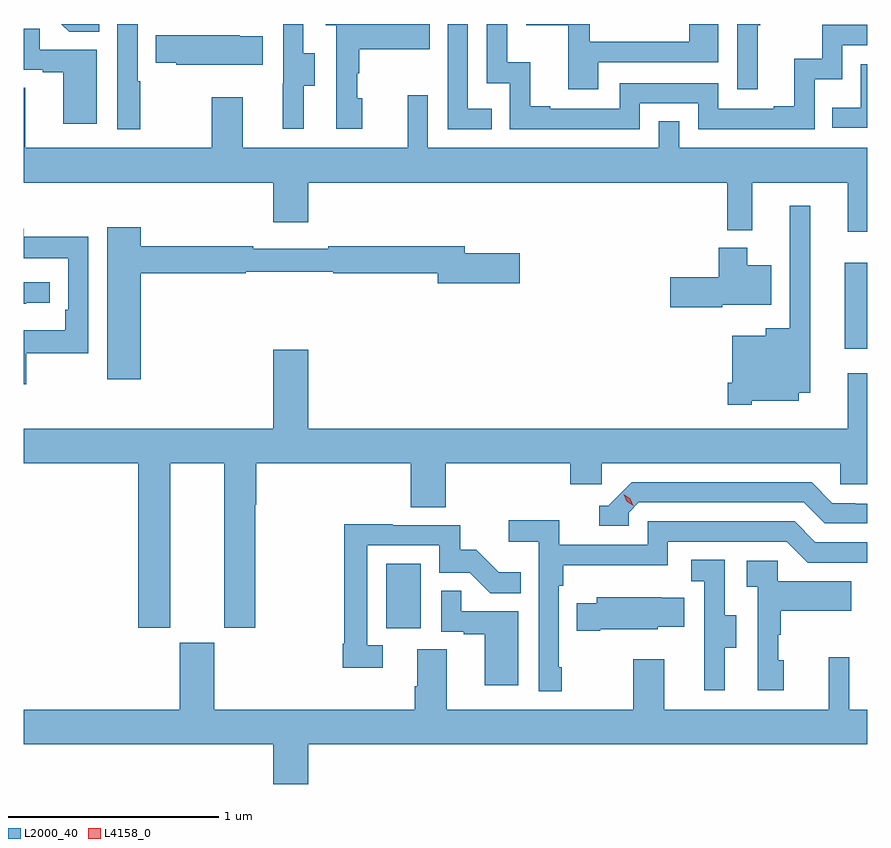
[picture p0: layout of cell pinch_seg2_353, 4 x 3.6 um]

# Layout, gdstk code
import gdstk
lib = gdstk.Library(unit=1e-6, precision=1e-09)
def R(c, l, rs):  # rectangles x0, y0, x1, y1
    for r in rs: c.add(gdstk.rectangle(r[:2], r[2:], *l))
def P(c, l, *ps):  # polygons
    for p in ps: c.add(gdstk.Polygon(p, *l))
L2000_40 = (2000, 40)
L4158_0 = (4158, 0)

pinch_seg2_353 = lib.new_cell('pinch_seg2_353')
R(pinch_seg2_353, L2000_40, [(980.726,633.534,980.89,633.841), (982.901,634.859,983.008,635.269)])
P(pinch_seg2_353, L2000_40, [(981.93,636.024),(982.206,636.024),(982.206,635.901),(982.758,635.901),(982.758,636.137),(982.89,636.137),(982.89,636.3),(983.008,636.3),(983.008,636.396),(982.794,636.396),(982.794,636.235),(982.661,636.235),(982.661,636.01),(982.565,636.01),(982.565,635.997),(982.302,635.997),(982.302,636.12),(981.834,636.12),(981.834,635.997),(981.505,635.997),(981.505,636.01),(981.41,636.01),(981.41,636.218),(981.3,636.218),(981.3,636.4),(981.204,636.4),(981.204,636.12),(981.312,636.12),(981.312,635.901),(981.93,635.901)],
  [(982.489,636.393),(982.501,636.393),(982.501,636.4),(982.392,636.4),(982.392,636.09),(982.489,636.09)],
  [(980.335,636.106),(980.389,636.106),(980.389,636.261),(980.334,636.261),(980.334,636.4),(980.238,636.4),(980.238,636.117),(980.237,636.117),(980.237,635.904),(980.335,635.904)],
  [(980.614,636.048),(980.589,636.048),(980.589,636.167),(980.599,636.167),(980.599,636.281),(980.933,636.281),(980.933,636.4),(980.439,636.4),(980.439,636.395),(980.49,636.395),(980.49,635.904),(980.614,635.904)],
  [(981.227,635.997),(981.114,635.997),(981.114,636.4),(981.018,636.4),(981.018,635.901),(981.227,635.901)],
  [(981.733,636.219),(982.302,636.219),(982.302,636.399),(982.165,636.399),(982.165,636.315),(981.691,636.315),(981.691,636.4),(981.39,636.4),(981.39,636.393),(981.589,636.393),(981.589,636.09),(981.733,636.09)],
  [(979.367,636.4),(979.187,636.4),(979.223,636.364),(979.367,636.364)],
  [(979.561,636.128),(979.548,636.128),(979.548,636.4),(979.452,636.4),(979.452,635.901),(979.561,635.901)],
  [(979.354,636.279),(979.085,636.279),(979.085,636.377),(979.008,636.377),(979.008,636.183),(979.097,636.183),(979.097,636.171),(979.196,636.171),(979.196,635.928),(979.354,635.928)],
  [(980.141,636.343),(980.033,636.343),(980.033,636.346),(979.633,636.346),(979.633,636.217),(979.731,636.217),(979.731,636.206),(980.141,636.206)],
  [(983.008,636.21),(982.978,636.21),(982.978,636.004),(982.843,636.004),(982.843,635.907),(983.008,635.907)],
  [(983.008,635.812),(982.116,635.812),(982.116,635.939),(982.02,635.939),(982.02,635.812),(980.925,635.812),(980.925,636.061),(980.828,636.061),(980.828,635.812),(980.047,635.812),(980.047,636.052),(979.9,636.052),(979.9,635.812),(979.015,635.812),(979.015,636.098),(979.008,636.098),(979.008,635.648),(980.192,635.648),(980.192,635.46),(980.356,635.46),(980.356,635.648),(982.345,635.648),(982.345,635.423),(982.463,635.423),(982.463,635.648),(982.916,635.648),(982.916,635.415),(983.008,635.415)],
  [(982.461,634.613),(982.684,634.613),(982.684,634.652),(982.738,634.652),(982.738,635.539),(982.641,635.539),(982.641,634.957),(982.526,634.957),(982.526,634.921),(982.367,634.921),(982.367,634.699),(982.346,634.699),(982.346,634.595),(982.461,634.595)],
  [(979.564,635.218),(980.06,635.218),(980.06,635.226),(980.476,635.226),(980.476,635.218),(980.972,635.218),(980.972,635.171),(981.361,635.171),(981.361,635.313),(981.1,635.313),(981.1,635.347),(980.452,635.347),(980.452,635.334),(980.096,635.334),(980.096,635.347),(979.564,635.347),(979.564,635.437),(979.403,635.437),(979.403,634.716),(979.564,634.716)],
  [(979.021,634.839),(979.314,634.839),(979.314,635.39),(979.009,635.39),(979.009,635.428),(979.008,635.428),(979.008,635.289),(979.218,635.289),(979.218,635.044),(979.205,635.044),(979.205,634.948),(979.008,634.948),(979.008,634.692),(979.021,634.692)],
  [(982.32,635.069),(982.552,635.069),(982.552,635.257),(982.438,635.257),(982.438,635.338),(982.304,635.338),(982.304,635.199),(982.074,635.199),(982.074,635.057),(982.32,635.057)],
  [(979.019,635.079),(979.132,635.079),(979.132,635.175),(979.008,635.175),(979.008,635.074),(979.019,635.074)],
  [(979.702,634.316),(979.958,634.316),(979.958,633.537),(980.106,633.537),(980.106,634.12),(980.111,634.12),(980.111,634.316),(980.843,634.316),(980.843,634.108),(981.008,634.108),(981.008,634.316),(981.599,634.316),(981.599,634.218),(981.75,634.218),(981.75,634.316),(982.881,634.316),(982.881,634.218),(983.008,634.218),(983.008,634.744),(982.915,634.744),(982.915,634.48),(980.356,634.48),(980.356,634.855),(980.192,634.855),(980.192,634.48),(979.008,634.48),(979.008,634.316),(979.55,634.316),(979.55,633.537),(979.702,633.537)],
  [(981.876,634.083),(981.924,634.131),(982.707,634.131),(982.806,634.032),(983.008,634.032),(983.008,634.125),(982.95,634.125),(982.95,634.128),(982.843,634.128),(982.744,634.227),(981.891,634.227),(981.78,634.116),(981.737,634.116),(981.737,634.02),(981.876,634.02)],
  [(981.559,633.349),(981.546,633.349),(981.546,633.737),(981.566,633.737),(981.566,633.833),(982.062,633.833),(982.062,633.945),(982.626,633.945),(982.725,633.846),(983.008,633.846),(983.008,633.942),(982.762,633.942),(982.663,634.041),(981.966,634.041),(981.966,633.93),(981.548,633.93),(981.548,634.046),(981.309,634.046),(981.309,633.944),(981.45,633.944),(981.45,633.237),(981.559,633.237)],
  [(980.71,633.453),(980.637,633.453),(980.637,633.927),(980.979,633.927),(980.979,633.798),(981.123,633.798),(981.221,633.7),(981.365,633.7),(981.365,633.799),(981.261,633.799),(981.154,633.906),(981.078,633.906),(981.078,634.023),(980.759,634.023),(980.759,634.028),(980.529,634.028),(980.529,633.46),(980.521,633.46),(980.521,633.348),(980.71,633.348)],
  [(982.333,633.442),(982.387,633.442),(982.387,633.597),(982.332,633.597),(982.332,633.86),(982.173,633.86),(982.173,633.757),(982.236,633.757),(982.236,633.453),(982.235,633.453),(982.235,633.24),(982.333,633.24)],
  [(982.612,633.384),(982.587,633.384),(982.587,633.503),(982.597,633.503),(982.597,633.617),(982.931,633.617),(982.931,633.757),(982.584,633.757),(982.584,633.855),(982.437,633.855),(982.437,633.731),(982.488,633.731),(982.488,633.24),(982.612,633.24)],
  [(981.352,633.615),(981.083,633.615),(981.083,633.713),(980.988,633.713),(980.988,633.519),(981.095,633.519),(981.095,633.507),(981.194,633.507),(981.194,633.264),(981.352,633.264)],
  [(981.742,633.53),(982.014,633.53),(982.014,633.542),(982.139,633.542),(982.139,633.679),(982.031,633.679),(982.031,633.682),(981.725,633.682),(981.725,633.652),(981.631,633.652),(981.631,633.523),(981.742,633.523)],
  [(980.356,632.984),(983.008,632.984),(983.008,633.148),(982.923,633.148),(982.923,633.397),(982.826,633.397),(982.826,633.148),(982.045,633.148),(982.045,633.388),(981.898,633.388),(981.898,633.148),(981.013,633.148),(981.013,633.434),(980.873,633.434),(980.873,633.26),(980.861,633.26),(980.861,633.148),(979.912,633.148),(979.912,633.465),(979.748,633.465),(979.748,633.148),(979.008,633.148),(979.008,632.984),(980.192,632.984),(980.192,632.796),(980.356,632.796)])
P(pinch_seg2_353, L4158_0, [(981.899,634.116),(981.868,634.136),(981.853,634.169),(981.853,634.169),(981.853,634.169),(981.883,634.149),(981.899,634.116),(981.899,634.116)])

lib.write_gds('pinch_seg2_353.gds')
